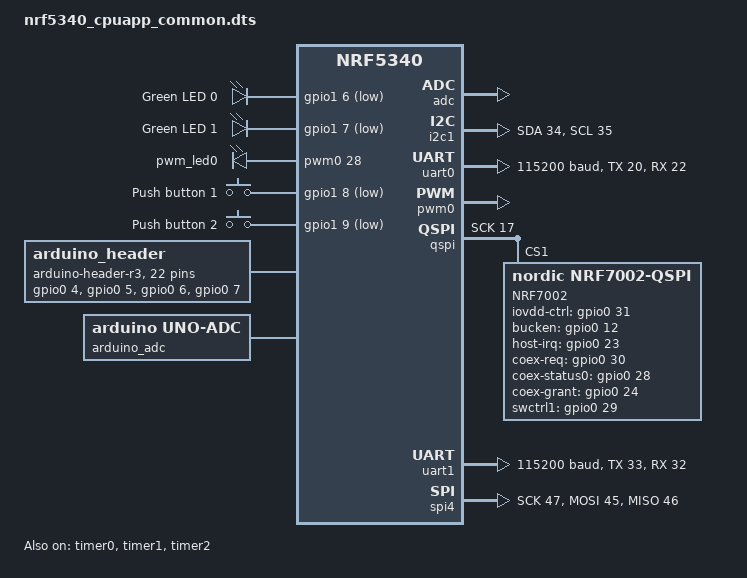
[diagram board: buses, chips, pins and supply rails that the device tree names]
/*
 * Copyright (c) 2019-2020 Nordic Semiconductor ASA
 *
 * SPDX-License-Identifier: Apache-2.0
 */

/ {

	chosen {
		zephyr,console = &uart0;
		zephyr,shell-uart = &uart0;
		zephyr,uart-mcumgr = &uart0;
		zephyr,bt-mon-uart = &uart0;
		zephyr,bt-c2h-uart = &uart0;
	};

	leds {
		compatible = "gpio-leds";
		led0: led_0 {
			gpios = <&gpio1 6 GPIO_ACTIVE_LOW>;
			label = "Green LED 0";
		};
		led1: led_1 {
			gpios = <&gpio1 7 GPIO_ACTIVE_LOW>;
			label = "Green LED 1";
		};
	};

	pwmleds {
		compatible = "pwm-leds";
		pwm_led0: pwm_led_0 {
			pwms = <&pwm0 28>;
		};
	};

	buttons {
		compatible = "gpio-keys";
		button0: button_0 {
			gpios = <&gpio1 8 (GPIO_PULL_UP | GPIO_ACTIVE_LOW)>;
			label = "Push button 1";
		};
		button1: button_1 {
			gpios = <&gpio1 9 (GPIO_PULL_UP | GPIO_ACTIVE_LOW)>;
			label = "Push button 2";
		};
	};

	arduino_header: connector {
		compatible = "arduino-header-r3";
		#gpio-cells = <2>;
		gpio-map-mask = <0xffffffff 0xffffffc0>;
		gpio-map-pass-thru = <0 0x3f>;
		gpio-map = <0 0 &gpio0 4 0>,	/* A0 */
			   <1 0 &gpio0 5 0>,	/* A1 */
			   <2 0 &gpio0 6 0>,	/* A2 */
			   <3 0 &gpio0 7 0>,	/* A3 */
			   <4 0 &gpio0 25 0>,	/* A4 */
			   <5 0 &gpio0 26 0>,	/* A5 */
			   <6 0 &gpio1 0 0>,	/* D0 */
			   <7 0 &gpio1 1 0>,	/* D1 */
			   <8 0 &gpio1 4 0>,	/* D2 */
			   <9 0 &gpio1 5 0>,	/* D3 */
			   <10 0 &gpio1 6 0>,	/* D4 */
			   <11 0 &gpio1 7 0>,	/* D5 */
			   <12 0 &gpio1 8 0>,	/* D6 */
			   <13 0 &gpio1 9 0>,	/* D7 */
			   <14 0 &gpio1 10 0>,	/* D8 */
			   <15 0 &gpio1 11 0>,	/* D9 */
			   <16 0 &gpio1 12 0>,	/* D10 */
			   <17 0 &gpio1 13 0>,	/* D11 */
			   <18 0 &gpio1 14 0>,	/* D12 */
			   <19 0 &gpio1 15 0>,	/* D13 */
			   <20 0 &gpio1 2 0>,	/* D14 */
			   <21 0 &gpio1 3 0>;	/* D15 */
	};

	arduino_adc: analog-connector {
		compatible = "arduino,uno-adc";
		#io-channel-cells = <1>;
		io-channel-map = <0 &adc 0>,	/* A0 = P0.4 = AIN0 */
				 <1 &adc 1>,	/* A1 = P0.5 = AIN1 */
				 <2 &adc 2>,	/* A2 = P0.6 = AIN2 */
				 <3 &adc 3>,	/* A3 = P0.7 = AIN3 */
				 <4 &adc 4>,	/* A4 = P0.25 = AIN4 */
				 <5 &adc 5>;	/* A5 = P0.26 = AIN5 */
	};

	/* These aliases are provided for compatibility with samples */
	aliases {
		led0 = &led0;
		led1 = &led1;
		pwm-led0 = &pwm_led0;
		sw0 = &button0;
		sw1 = &button1;
		bootloader-led0 = &led0;
	};
};

&adc {
	status = "okay";
};

&gpiote {
	status = "okay";
};

&gpio0 {
	status = "okay";
};

&gpio1 {
	status = "okay";
};

&i2c1 {
	compatible = "nordic,nrf-twim";
	status = "okay";
	sda-pin = <34>;
	scl-pin = <35>;
};

&uart0 {
	status = "okay";
	current-speed = <115200>;
	tx-pin = <20>;
	rx-pin = <22>;
	rx-pull-up;
	rts-pin = <19>;
	cts-pin = <21>;
	cts-pull-up;
};

&pwm0 {
	status = "okay";
	ch0-pin = <28>;
};

&qspi {
	status = "okay";
	sck-pin = <17>;
	io-pins = <13>, <14>, <15>, <16>;
	csn-pins = <18>;

	nrf7002: nrf7002@1 {
		status = "okay";
		compatible = "nordic,nrf7002-qspi";
		reg = <1>;
		sck-frequency = <8000000>;
		label = "NRF7002";
		/* Wi-Fi Pins used */
		iovdd-ctrl-gpios	= <&gpio0 31 GPIO_ACTIVE_HIGH>;
		bucken-gpios		= <&gpio0 12 GPIO_ACTIVE_HIGH>;
		host-irq-gpios		= <&gpio0 23 GPIO_ACTIVE_HIGH>;
		coex-req-gpios		= <&gpio0 30 GPIO_ACTIVE_HIGH>;
		coex-status0-gpios	= <&gpio0 28 GPIO_ACTIVE_HIGH>;
		coex-grant-gpios	= <&gpio0 24 GPIO_ACTIVE_HIGH>;
		swctrl1-gpios		= <&gpio0 29 GPIO_ACTIVE_HIGH>;
	};
};

&timer0 {
	status = "okay";
};

&timer1 {
	status = "okay";
};

&timer2 {
	status = "okay";
};

arduino_serial: &uart1 {
	compatible = "nordic,nrf-uarte";
	current-speed = <115200>;
	tx-pin = <33>;
	rx-pin = <32>;
	rx-pull-up;
};

arduino_i2c: &i2c1 {};

arduino_spi: &spi4 {
	compatible = "nordic,nrf-spim";
	sck-pin = <47>;
	miso-pin = <46>;
	mosi-pin = <45>;
	cs-gpios = <&arduino_header 16 GPIO_ACTIVE_LOW>; /* D10 */
};

&flash0 {

	partitions {
		compatible = "fixed-partitions";
		#address-cells = <1>;
		#size-cells = <1>;

		boot_partition: partition@0 {
			label = "mcuboot";
			reg = <0x00000000 0x00010000>;
		};
		slot0_partition: partition@10000 {
			label = "image-0";
		};
		slot0_ns_partition: partition@50000 {
			label = "image-0-nonsecure";
		};
		slot1_partition: partition@80000 {
			label = "image-1";
		};
		slot1_ns_partition: partition@c0000 {
			label = "image-1-nonsecure";
		};
		scratch_partition: partition@f0000 {
			label = "image-scratch";
			reg = <0x000f0000 0xa000>;
		};
		storage_partition: partition@fa000 {
			label = "storage";
			reg = <0x000fa000 0x00006000>;
		};
	};
};

/ {

	reserved-memory {
		#address-cells = <1>;
		#size-cells = <1>;
		ranges;

		sram0_image: image@20000000 {
			/* Zephyr image(s) memory */
		};

		sram0_s: image_s@20000000 {
			/* Secure image memory */
		};

		sram0_ns: image_ns@20040000 {
			/* Non-Secure image memory */
		};
	};
};

/* Include partition configuration file */
#include "nrf5340_cpuapp_partition_conf.dts"
